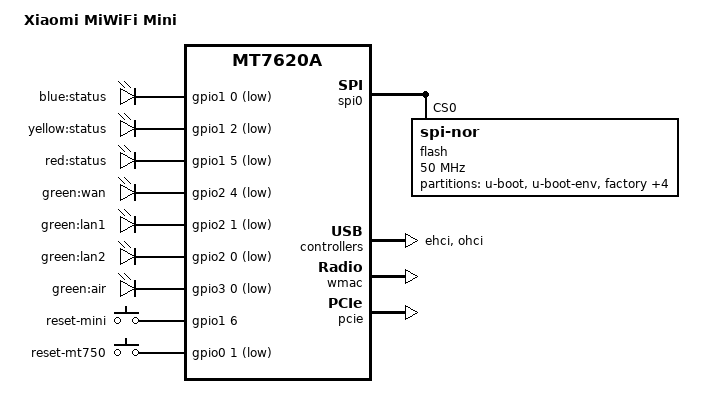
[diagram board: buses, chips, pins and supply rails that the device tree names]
#include "mt7620a.dtsi"

#include <dt-bindings/gpio/gpio.h>
#include <dt-bindings/input/input.h>

/ {
	compatible = "xiaomi,miwifi-mini", "ralink,mt7620a-soc";
	model = "Xiaomi MiWiFi Mini";

	aliases {
		led-boot = &led_yellow;
		led-failsafe = &led_red;
		led-running = &led_blue;
		led-upgrade = &led_blue;
		label-mac-device = &ethernet;
	};

	chosen {
		bootargs = "console=ttyS0,115200";
	};

	leds {
		compatible = "gpio-leds";

		led_blue: blue {
			label = "blue:status";
			gpios = <&gpio1 0 GPIO_ACTIVE_LOW>;
		};

		led_yellow: yellow {
			label = "yellow:status";
			gpios = <&gpio1 2 GPIO_ACTIVE_LOW>;
		};

		led_red: red {
			label = "red:status";
			gpios = <&gpio1 5 GPIO_ACTIVE_LOW>;
		};

		wan {
			label = "green:wan";
			gpios = <&gpio2 4 GPIO_ACTIVE_LOW>;
		};

		lan1 {
			label = "green:lan1";
			gpios = <&gpio2 1 GPIO_ACTIVE_LOW>;
		};

		lan2 {
			label = "green:lan2";
			gpios = <&gpio2 0 GPIO_ACTIVE_LOW>;
		};

		air {
			label = "green:air";
			gpios = <&gpio3 0 GPIO_ACTIVE_LOW>;
			default-state = "on";
			linux,default-trigger = "phy0tx";
		};
	};

	keys {
		compatible = "gpio-keys";

		reset_mini {
			label = "reset-mini";
			gpios = <&gpio1 6 GPIO_ACTIVE_HIGH>;
			linux,code = <KEY_RESTART>;
		};

		reset_mt750 {
			label = "reset-mt750";
			gpios = <&gpio0 1 GPIO_ACTIVE_LOW>;
			linux,code = <KEY_RESTART>;
			debounce-interval = <60>;
		};
	};
};

&gpio0 {
	status = "okay";
};

&gpio1 {
	status = "okay";
};

&gpio2 {
	status = "okay";
};

&gpio3 {
	status = "okay";
};

&spi0 {
	status = "okay";

	flash@0 {
		compatible = "jedec,spi-nor";
		reg = <0>;
		spi-max-frequency = <50000000>;
		m25p,fast-read;

		partitions {
			compatible = "fixed-partitions";
			#address-cells = <1>;
			#size-cells = <1>;

			partition@0 {
				label = "u-boot";
				reg = <0x0 0x30000>;
				read-only;
			};

			partition@30000 {
				label = "u-boot-env";
				reg = <0x30000 0x10000>;
			};

			partition@40000 {
				label = "factory";
				reg = <0x40000 0x10000>;
				read-only;
			};

			partition@50000 {
				compatible = "denx,uimage";
				label = "firmware";
				reg = <0x50000 0x1f80000>;
			};

			partition@1fd0000 {
				label = "crash";
				reg = <0x1fd0000 0x10000>;
			};

			partition@1fe0000 {
				label = "reserved";
				reg = <0x1fe0000 0x10000>;
				read-only;
			};

			partition@1ff0000 {
				label = "Bdata";
				reg = <0x1ff0000 0x10000>;
			};
		};
	};
};

&ehci {
	status = "okay";
};

&ohci {
	status = "okay";
};

&ethernet {
	nvmem-cells = <&macaddr_factory_28>;
	nvmem-cell-names = "mac-address";

	mediatek,portmap = "llllw";
};

&wmac {
	pinctrl-names = "default", "pa_gpio";
	pinctrl-0 = <&pa_pins>;
	pinctrl-1 = <&pa_gpio_pins>;
	ralink,mtd-eeprom = <&factory 0x0>;
};

&pcie {
	status = "okay";
};

&pcie0 {
	mt76@0,0 {
		reg = <0x0000 0 0 0 0>;
		mediatek,mtd-eeprom = <&factory 0x8000>;
		ieee80211-freq-limit = <5000000 6000000>;
	};
};

&state_default {
	gpio {
		groups = "ephy", "i2c", "rgmii1";
		function = "gpio";
	};
};

&factory {
	compatible = "nvmem-cells";
	#address-cells = <1>;
	#size-cells = <1>;

	macaddr_factory_28: macaddr@28 {
		reg = <0x28 0x6>;
	};
};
